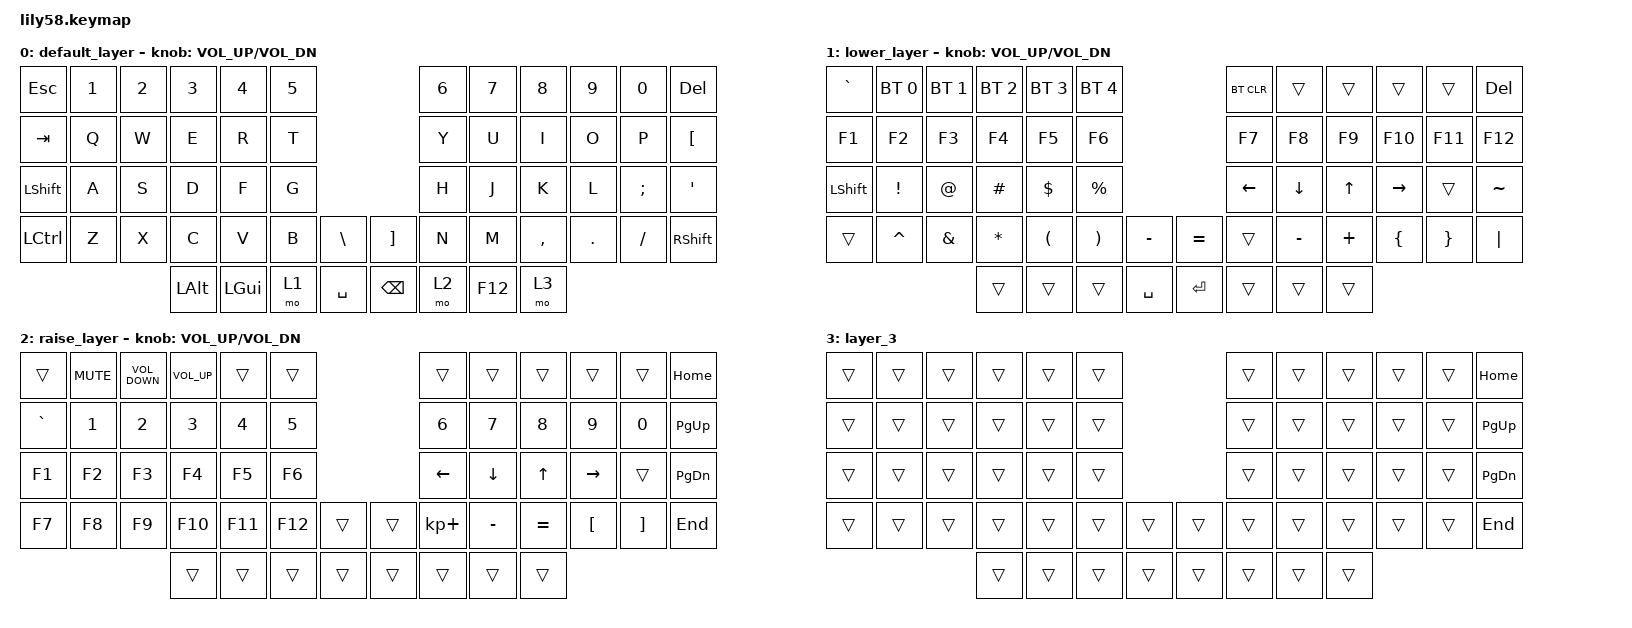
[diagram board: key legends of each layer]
/*
 * Copyright (c) 2020 The ZMK Contributors
 *
 * SPDX-License-Identifier: MIT
 */

#include <behaviors.dtsi>
#include <dt-bindings/zmk/bt.h>
#include <dt-bindings/zmk/keys.h>

/ {
    combos {
        compatible = "zmk,combos";

        combo_esc {
            timeout-ms = <50>;
            key-positions = <1 0>;
            bindings = <&kp ESC>;
        };
    };

    behaviors {
        ss_hs_modmorph: ss_hs_modmorph {
            compatible = "zmk,behavior-mod-morph";
            label = "SS_HS_MODMORPH";
            bindings = <&kp M>, <&kp RIGHT_BRACKET>;

            #binding-cells = <0>;
            mods = <(MOD_LSFT|MOD_RSFT)>;
        };

        kh_hs_tapdance: kh_hs_tapdance {
            compatible = "zmk,behavior-tap-dance";
            label = "KH_HS_TAPDANCE";
            #binding-cells = <0>;
            tapping-term-ms = <200>;
            bindings = <&kp LEFT_BRACKET>, <&kp RIGHT_BRACKET>;
        };

        hrm: hrm {
            compatible = "zmk,behavior-hold-tap";
            #binding-cells = <2>;
            flavor = "tap-preferred";
            tapping-term-ms = <200>;
            quick-tap-ms = <200>;
            require-prior-idle-ms = <125>;
            bindings = <&kp>, <&kp>;
        };
    };

    keymap {
        compatible = "zmk,keymap";

        default_layer {
            // ------------------------------------------------------------------------------------------------------------
            // |  ESC  |  1  |  2  |  3   |  4   |  5   |                   |  6   |  7    |  8    |  9   |   0   |   `   |
            // |  TAB  |  Q  |  W  |  E   |  R   |  T   |                   |  Y   |  U    |  I    |  O   |   P   |   -   |
            // |  CTRL |  A  |  S  |  D   |  F   |  G   |                   |  H   |  J    |  K    |  L   |   ;   |   '   |
            // | SHIFT |  Z  |  X  |  C   |  V   |  B   |   "["  |  |  "]"  |  N   |  M    |  ,    |  .   |   /   | SHIFT |
            //                     | ALT  | GUI  | LOWER|  SPACE |  | ENTER | RAISE| BSPC  | GUI   |

            bindings = <
&kp ESC           &kp N1  &kp N2  &kp N3    &kp N4        &kp N5                                  &kp N6  &kp N7   &kp N8     &kp N9   &kp N0    &kp DELETE
&kp TAB           &kp Q   &kp W   &kp E     &kp R         &kp T                                   &kp Y   &kp U    &kp I      &kp O    &kp P     &kp LBKT
&kp LEFT_SHIFT    &kp A   &kp S   &kp D     &kp F         &kp G                                   &kp H   &kp J    &kp K      &kp L    &kp SEMI  &kp SQT
&kp LEFT_CONTROL  &kp Z   &kp X   &kp C     &kp V         &kp B   &kp BACKSLASH    &kp RBKT       &kp N   &kp M    &kp COMMA  &kp DOT  &kp FSLH  &kp RSHFT
                                  &kp LALT  &kp LEFT_GUI  &mo 1   &kp SPACE        &kp BACKSPACE  &mo 2   &kp F12  &mo 3
            >;

            sensor-bindings = <&inc_dec_kp C_VOL_UP C_VOL_DN>;
        };

        lower_layer {
            // ------------------------------------------------------------------------------------------------------------
            // | BTCLR | BT1 | BT2 |  BT3 |  BT4 |  BT5 |                   |      |       |       |      |       |       |
            // |  F1   |  F2 |  F3 |  F4  |  F5  |  F6  |                   |  F7  |  F8   |  F9   |  F10 |  F11  |  F12  |
            // |   `   |  !  |  @  |  #   |  $   |  %   |                   |  ^   |  &    |  *    |  (   |   )   |   ~   |
            // |       |     |     |      |      |      |        |  |       |      |  _    |  +    |  {   |   }   |  "|"  |
            //                     |      |      |      |        |  |       |      |       |       |

            bindings = <
&kp GRAVE       &bt BT_SEL 0  &bt BT_SEL 1   &bt BT_SEL 2  &bt BT_SEL 3  &bt BT_SEL 4                          &bt BT_CLR      &trans          &trans        &trans           &trans    &kp DEL
&kp F1          &kp F2        &kp F3         &kp F4        &kp F5        &kp F6                                &kp F7          &kp F8          &kp F9        &kp F10          &kp F11   &kp F12
&kp LEFT_SHIFT  &kp EXCL      &kp AT         &kp HASH      &kp DOLLAR    &kp PRCNT                             &kp LEFT_ARROW  &kp DOWN_ARROW  &kp UP_ARROW  &kp RIGHT_ARROW  &trans    &kp TILDE
&trans          &kp CARET     &kp AMPERSAND  &kp ASTRK     &kp LPAR      &kp RPAR      &kp MINUS    &kp EQUAL  &trans          &kp MINUS       &kp PLUS      &kp LBRC         &kp RBRC  &kp PIPE
                                             &trans        &trans        &trans        &kp SPACE    &kp ENTER  &trans          &trans          &trans
            >;

            sensor-bindings = <&inc_dec_kp C_VOL_UP C_VOL_DN>;
        };

        raise_layer {
            // ------------------------------------------------------------------------------------------------------------
            // |       |     |     |      |      |      |                   |      |       |       |      |       |       |
            // |   `   |  1  |  2  |  3   |  4   |  5   |                   |  6   |   7   |   8   |  9   |   0   |       |
            // |   F1  |  F2 |  F3 |  F4  |  F5  |  F6  |                   |      |   <-  |   v   |  ^   |  ->   |       |
            // |   F7  |  F8 |  F9 |  F10 |  F11 |  F12 |        |  |       |  +   |   -   |   =   |  [   |   ]   |   \   |
            //                     |      |      |      |        |  |       |      |       |       |

            bindings = <
&trans     &kp K_MUTE  &kp C_VOLUME_DOWN  &kp C_VOL_UP  &trans   &trans                     &trans          &trans          &trans        &trans     &trans    &kp HOME
&kp GRAVE  &kp N1      &kp N2             &kp N3        &kp N4   &kp N5                     &kp N6          &kp N7          &kp N8        &kp N9     &kp N0    &kp PAGE_UP
&kp F1     &kp F2      &kp F3             &kp F4        &kp F5   &kp F6                     &kp LEFT_ARROW  &kp DOWN_ARROW  &kp UP_ARROW  &kp RIGHT  &trans    &kp PAGE_DOWN
&kp F7     &kp F8      &kp F9             &kp F10       &kp F11  &kp F12  &trans    &trans  &kp KP_PLUS     &kp MINUS       &kp EQUAL     &kp LBKT   &kp RBKT  &kp END
                                          &trans        &trans   &trans   &trans    &trans  &trans          &trans          &trans
            >;

            sensor-bindings = <&inc_dec_kp C_VOL_UP C_VOL_DN>;
        };

        layer_3 {
            bindings = <
&trans  &trans  &trans  &trans  &trans  &trans                    &trans  &trans  &trans  &trans  &trans  &kp HOME
&trans  &trans  &trans  &trans  &trans  &trans                    &trans  &trans  &trans  &trans  &trans  &kp PAGE_UP
&trans  &trans  &trans  &trans  &trans  &trans                    &trans  &trans  &trans  &trans  &trans  &kp PAGE_DOWN
&trans  &trans  &trans  &trans  &trans  &trans  &trans    &trans  &trans  &trans  &trans  &trans  &trans  &kp END
                        &trans  &trans  &trans  &trans    &trans  &trans  &trans  &trans
            >;
        };
    };
};
